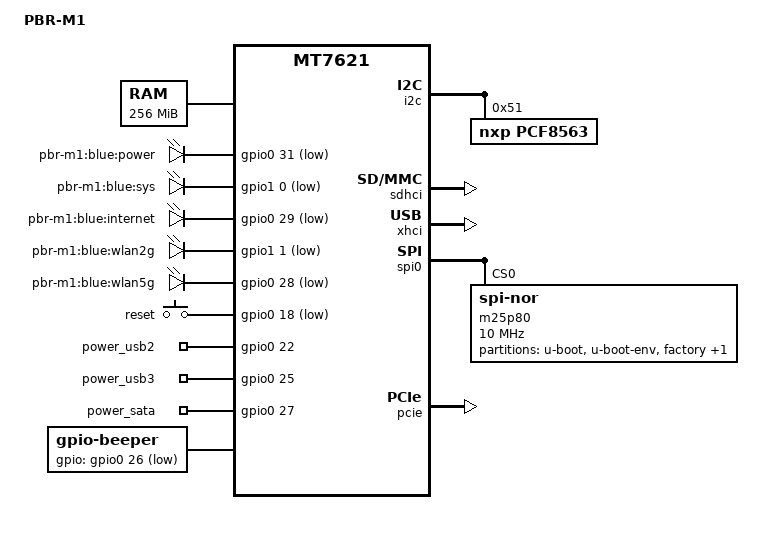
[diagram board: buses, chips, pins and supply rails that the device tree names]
/dts-v1/;

#include "mt7621.dtsi"

/ {
	compatible = "mediatek,mt7621-eval-board", "mediatek,mt7621-soc";
	model = "PBR-M1";

	memory@0 {
		device_type = "memory";
		reg = <0x0 0x10000000>;
	};

	chosen {
		bootargs = "console=ttyS0,115200";
	};

	palmbus: palmbus@1E000000 {
		i2c: i2c@900 {
			compatible = "ralink,i2c-mt7621";
			reg = <0x900 0x100>;
			#address-cells = <1>;
			#size-cells = <0>;
			pinctrl-names = "default";
			pinctrl-0 = <&i2c_pins>;
			status = "okay";

			pcf8563: rtc@51 {
				status = "okay";
				compatible = "nxp,pcf8563";
				reg = <0x51>;
			};
		};
	};

	gpio-leds {
		compatible = "gpio-leds";

		power {
			label = "pbr-m1:blue:power";
			gpios = <&gpio0 31 1>;
		};

		sys {
			label = "pbr-m1:blue:sys";
			gpios = <&gpio1 0 1>;
		};

		internet {
			label = "pbr-m1:blue:internet";
			gpios = <&gpio0 29 1>;
		};

		wlan2g {
			label = "pbr-m1:blue:wlan2g";
			gpios = <&gpio1 1 1>;
		};

		wlan5g {
			label = "pbr-m1:blue:wlan5g";
			gpios = <&gpio0 28 1>;
		};
	};

	gpio-keys-polled {
		compatible = "gpio-keys-polled";
		#address-cells = <1>;
		#size-cells = <0>;
		poll-interval = <20>;

		reset {
			label = "reset";
			gpios = <&gpio0 18 1>;
			linux,code = <0x198>;
		};
	};

	gpio_export {
		compatible = "gpio-export";
		#size-cells = <0>;

		power_usb2 {
			gpio-export,name = "power_usb2";
			gpio-export,output = <1>;
			gpios = <&gpio0 22 0>;
		};

		power_usb3 {
			gpio-export,name = "power_usb3";
			gpio-export,output = <1>;
			gpios = <&gpio0 25 0>;
		};

		power_sata {
			gpio-export,name = "power_sata";
			gpio-export,output = <1>;
			gpios = <&gpio0 27 0>;
		};
	};

	beeper: beeper {
		compatible = "gpio-beeper";
		gpios = <&gpio0 26 1>;
	};
};

&sdhci {
	status = "okay";
	pinctrl-names = "default";
	pinctrl-0 = <&sdhci_pins>;
};

&xhci {
	status = "okay";
};

&spi0 {
	status = "okay";

	m25p80@0 {
		#address-cells = <1>;
		#size-cells = <1>;
		compatible = "jedec,spi-nor";
		reg = <0>;
		linux,modalias = "m25p80";
		spi-max-frequency = <10000000>;

		partition@0 {
			label = "u-boot";
			reg = <0x0 0x30000>;
			read-only;
		};

		partition@30000 {
			label = "u-boot-env";
			reg = <0x30000 0x10000>;
			read-only;
		};

		factory: partition@40000 {
			label = "factory";
			reg = <0x40000 0x10000>;
			read-only;
		};

		partition@50000 {
			label = "firmware";
			reg = <0x50000 0xfb0000>;
		};
	};
};

&pcie {
	status = "okay";

	pcie0 {
		mt76@0,0 {
			reg = <0x0000 0 0 0 0>;
			device_type = "pci";
			mediatek,mtd-eeprom = <&factory 0x8000>;
			mediatek,2ghz = <0>;
		};
	};

	pcie1 {
		mt76@1,0 {
			reg = <0x0000 0 0 0 0>;
			device_type = "pci";
			mediatek,mtd-eeprom = <&factory 0x0000>;
			mediatek,5ghz = <0>;
		};
	};
};

&ethernet {
	mtd-mac-address = <&factory 0xe000>;
};



&pinctrl {
	state_default: pinctrl0 {
		gpio {
			ralink,group = "wdt", "rgmii2", "jtag", "mdio";
			ralink,function = "gpio";
		};
	};
};
